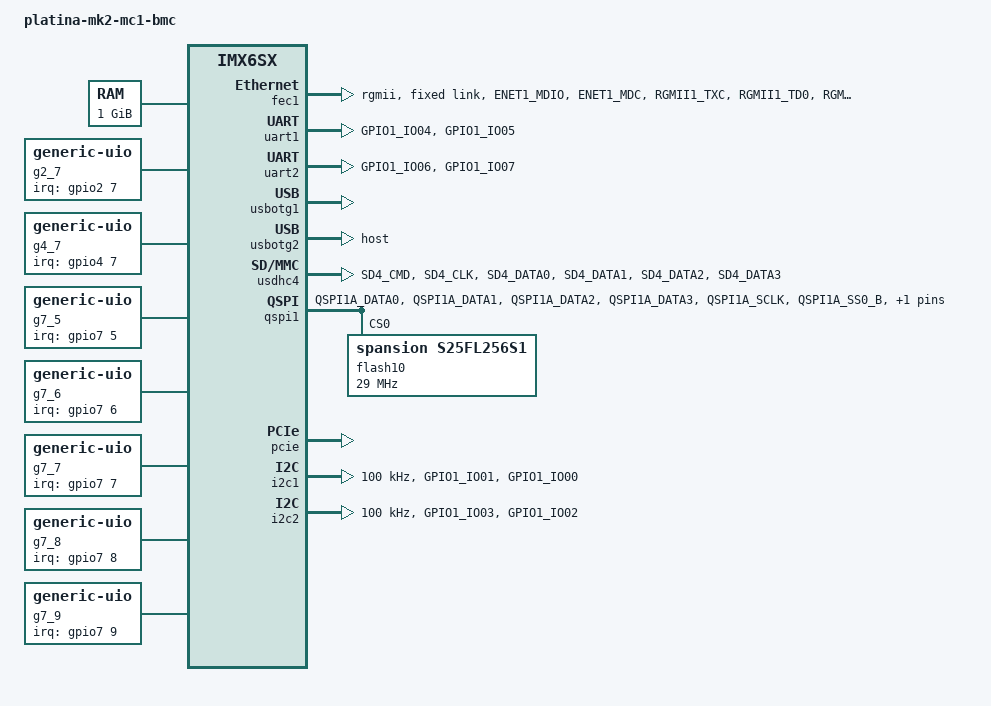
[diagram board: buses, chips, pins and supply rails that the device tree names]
/*
 * Copyright (C) 2015-2016 Platina Systems, Inc.
 *
 * This program is free software; you can redistribute it and/or modify
 * it under the terms of the GNU General Public License version 2 as
 * published by the Free Software Foundation.
 */

/dts-v1/;

#include <dt-bindings/gpio/gpio.h>
#include <dt-bindings/input/input.h>
#include "imx6sx.dtsi"

/ {
	model = "platina-mk2-mc1-bmc";
	compatible = "platina,platina-mk2-mc1-bmc", "fsl,imx6sx-sdb", "fsl,imx6sx";

	chosen {
		stdout-path = &uart1;
	};

	memory {
		reg = <0x80000000 0x40000000>;
	};


        /* Map gpio interrupts to logical
         * User Space IO devices
         */
        g2_7 {
                compatible = "generic-uio", "uio_pdrv_genirq";
                status = "okay";
                interrupt-parent = <&gpio2>;
                interrupts =    <7 IRQ_TYPE_EDGE_FALLING>;
        };

        g4_7 {
                compatible = "generic-uio", "uio_pdrv_genirq";
                status = "okay";
                interrupt-parent = <&gpio4>;
                interrupts =    <7 IRQ_TYPE_EDGE_FALLING>;
        };

        g7_5 {
                compatible = "generic-uio", "uio_pdrv_genirq";
                status = "okay";
                interrupt-parent = <&gpio7>;
                interrupts =    <5 IRQ_TYPE_EDGE_FALLING>;
        };

        g7_6 {
                compatible = "generic-uio", "uio_pdrv_genirq";
                status = "okay";
                interrupt-parent = <&gpio7>;
                interrupts =    <6 IRQ_TYPE_EDGE_FALLING>;
        };

        g7_7 {
                compatible = "generic-uio", "uio_pdrv_genirq";
                status = "okay";
                interrupt-parent = <&gpio7>;
                interrupts =    <7 IRQ_TYPE_EDGE_FALLING>;
        };

        g7_8 {
                compatible = "generic-uio", "uio_pdrv_genirq";
                status = "okay";
                interrupt-parent = <&gpio7>;
                interrupts =    <8 IRQ_TYPE_EDGE_FALLING>;
        };

        g7_9 {
                compatible = "generic-uio", "uio_pdrv_genirq";
                status = "okay";
                interrupt-parent = <&gpio7>;
                interrupts =    <9 IRQ_TYPE_EDGE_FALLING>;
        };
};

&fec1 {
	status = "okay";
	pinctrl-names = "default";
	pinctrl-0 = <&pinctrl_enet1>;
	phy-mode = "rgmii";
	fixed-link {
	      speed = <1000>;
	      full-duplex;
	};
};

&uart1 {
	pinctrl-names = "default";
	pinctrl-0 = <&pinctrl_uart1>;
	status = "okay";
};

&uart2 {
	pinctrl-names = "default";
	pinctrl-0 = <&pinctrl_uart2>;
	status = "okay";
};

&usbotg1 {			/* onboard debug */
	pinctrl-names = "default";
	status = "okay";
};


&usbotg2 { 			/* used for front faceplate */
	dr_mode = "host";
	status = "okay";
};


&usdhc4 {
	pinctrl-names = "default";
	pinctrl-0 = <&pinctrl_usdhc4>;
	status = "okay";
};


/* Added new Quad-SPI1 node for TOR1 */
/*   	      	       	    	     */
&qspi1 {
       pinctrl-names = "default";
       pinctrl-0 = <&pinctrl_qspi1>;
       status = "okay";

	ddrsmp = <0>;		/* DDR internal Sampling */

       flash10: s25fl256s1@0 {
		#address-cells = <1>;
		#size-cells = <1>;
		compatible = "spansion,s25fl256s1";
		spi-max-frequency = <29000000>;
		reg = <0>;
	};

/*
	flash11: s25fl512s@1 {
		#address-cells = <1>;
		#size-cells = <1>;
		compatible = "spansion,s25fl512s";
		spi-max-frequency = <29000000>;
		reg = <1>;
	};

     	flash12: s25fl512s@2 {
		#address-cells = <1>;
		#size-cells = <1>;
		compatible = "spansion,s25fl512s";
		spi-max-frequency = <29000000>;
		reg = <2>;
	};

	flash13: s25fl512s@3 {
		#address-cells = <1>;
		#size-cells = <1>;
		compatible = "spansion,s25fl512s";
		spi-max-frequency = <29000000>;
		reg = <3>;
	};

*/
};

&pcie {
	pinctrl-names = "default";
       	status = "okay";
};


&iomuxc {
	pinctrl-names = "default";
	pinctrl-0 = <&pinctrl_hog>;

	platina-mk2-mc1-bmc {
        	pinctrl_hog: hoggrp {
			fsl,pins = <
				MX6SX_PAD_GPIO1_IO08__GPIO1_IO_8	0x17028
				MX6SX_PAD_GPIO1_IO09__GPIO1_IO_9 	0x17028
				MX6SX_PAD_GPIO1_IO10__GPIO1_IO_10	0x00828
				MX6SX_PAD_GPIO1_IO11__GPIO1_IO_11	0x00028
				MX6SX_PAD_GPIO1_IO12__GPIO1_IO_12	0x00028
				MX6SX_PAD_GPIO1_IO13__GPIO1_IO_13	0x11028
				
				MX6SX_PAD_ENET1_COL__GPIO2_IO_0		0x10028
				MX6SX_PAD_ENET1_CRS__GPIO2_IO_1		0x10028
				MX6SX_PAD_ENET1_RX_CLK__GPIO2_IO_4	0x00000
				MX6SX_PAD_ENET1_TX_CLK__GPIO2_IO_5	0x00000
				MX6SX_PAD_ENET2_COL__GPIO2_IO_6		0x3028
				MX6SX_PAD_ENET2_CRS__GPIO2_IO_7 	0x10028
				MX6SX_PAD_ENET2_RX_CLK__GPIO2_IO_8	0x00028
				MX6SX_PAD_ENET2_TX_CLK__GPIO2_IO_9	0x10028
				MX6SX_PAD_KEY_COL0__GPIO2_IO_10		0x00028
				MX6SX_PAD_KEY_COL1__GPIO2_IO_11		0x00028
				MX6SX_PAD_KEY_COL2__GPIO2_IO_12		0x10028
				MX6SX_PAD_KEY_COL3__GPIO2_IO_13		0x10028
				MX6SX_PAD_KEY_ROW0__GPIO2_IO_15		0x10028
				MX6SX_PAD_KEY_ROW1__GPIO2_IO_16		0x10028
				MX6SX_PAD_KEY_ROW2__GPIO2_IO_17		0x10028
				MX6SX_PAD_KEY_ROW3__GPIO2_IO_18		0x10028

				MX6SX_PAD_LCD1_CLK__GPIO3_IO_0		0x10028
				MX6SX_PAD_LCD1_DATA00__GPIO3_IO_1	0x10028
                                MX6SX_PAD_LCD1_DATA01__GPIO3_IO_2       0x10028
                                MX6SX_PAD_LCD1_DATA02__GPIO3_IO_3       0x10028
                                MX6SX_PAD_LCD1_DATA03__GPIO3_IO_4       0x10028
                                MX6SX_PAD_LCD1_DATA04__GPIO3_IO_5       0x10028
                                MX6SX_PAD_LCD1_DATA05__GPIO3_IO_6       0x10028
                                MX6SX_PAD_LCD1_DATA06__GPIO3_IO_7       0x10028
                                MX6SX_PAD_LCD1_DATA07__GPIO3_IO_8       0x10028
                                MX6SX_PAD_LCD1_DATA08__GPIO3_IO_9       0x10028
                                MX6SX_PAD_LCD1_DATA09__GPIO3_IO_10      0x10028
                                MX6SX_PAD_LCD1_DATA10__GPIO3_IO_11      0x10028
                                MX6SX_PAD_LCD1_DATA11__GPIO3_IO_12      0x10028
                                MX6SX_PAD_LCD1_DATA12__GPIO3_IO_13      0x10028
                                MX6SX_PAD_LCD1_DATA13__GPIO3_IO_14      0x10028
                                MX6SX_PAD_LCD1_DATA14__GPIO3_IO_15      0x10028
                                MX6SX_PAD_LCD1_DATA15__GPIO3_IO_16      0x10028
                                MX6SX_PAD_LCD1_DATA16__GPIO3_IO_17      0x10028
                                MX6SX_PAD_LCD1_DATA17__GPIO3_IO_18      0x10028
                                MX6SX_PAD_LCD1_DATA18__GPIO3_IO_19      0x10028
                                MX6SX_PAD_LCD1_DATA19__GPIO3_IO_20      0x10028
                                MX6SX_PAD_LCD1_DATA20__GPIO3_IO_21      0x10028
                                MX6SX_PAD_LCD1_DATA21__GPIO3_IO_22      0x10028
                                MX6SX_PAD_LCD1_DATA22__GPIO3_IO_23      0x10028
                                MX6SX_PAD_LCD1_DATA23__GPIO3_IO_24      0x10028
				MX6SX_PAD_LCD1_ENABLE__GPIO3_IO_25	0x00828
				MX6SX_PAD_LCD1_HSYNC__GPIO3_IO_26 	0x10028
				MX6SX_PAD_LCD1_VSYNC__GPIO3_IO_28	0x17028

				MX6SX_PAD_NAND_ALE__GPIO4_IO_0  	0x11028
				MX6SX_PAD_NAND_CE0_B__GPIO4_IO_1 	0x10028
				MX6SX_PAD_NAND_CE1_B__GPIO4_IO_2 	0x10028
				MX6SX_PAD_NAND_CLE__GPIO4_IO_3  	0x11028
				MX6SX_PAD_NAND_DATA00__GPIO4_IO_4 	0x10028
				MX6SX_PAD_NAND_DATA01__GPIO4_IO_5	0x10028
				MX6SX_PAD_NAND_DATA02__GPIO4_IO_6	0x10028	
				MX6SX_PAD_NAND_DATA03__GPIO4_IO_7	0x10028
				MX6SX_PAD_NAND_DATA04__GPIO4_IO_8 	0x10028
				MX6SX_PAD_NAND_DATA05__GPIO4_IO_9 	0x10028
				MX6SX_PAD_NAND_DATA06__GPIO4_IO_10	0x10028
				MX6SX_PAD_NAND_DATA07__GPIO4_IO_11 	0x10028
				MX6SX_PAD_NAND_RE_B__GPIO4_IO_12   	0x11028
				MX6SX_PAD_NAND_READY_B__GPIO4_IO_13	0x00028
				MX6SX_PAD_NAND_WE_B__GPIO4_IO_14        0x11028
				MX6SX_PAD_NAND_WP_B__GPIO4_IO_15 	0x13028
				MX6SX_PAD_QSPI1B_DATA0__GPIO4_IO_24     0x00028
                                MX6SX_PAD_QSPI1B_DATA1__GPIO4_IO_25     0x00028
                                MX6SX_PAD_QSPI1B_DATA2__GPIO4_IO_26     0x00028
                                MX6SX_PAD_QSPI1B_DATA3__GPIO4_IO_27     0x00000 /* unused */
                                MX6SX_PAD_QSPI1B_DQS__GPIO4_IO_28       0x00028
				MX6SX_PAD_QSPI1B_SCLK__GPIO4_IO_29      0x00028
                                MX6SX_PAD_QSPI1B_SS0_B__GPIO4_IO_30     0x00028
                                MX6SX_PAD_QSPI1B_SS1_B__GPIO4_IO_31     0x10028

				MX6SX_PAD_RGMII2_RD0__GPIO5_IO_12	0x00028
				MX6SX_PAD_RGMII2_RD1__GPIO5_IO_13	0x10028
				MX6SX_PAD_RGMII2_RD2__GPIO5_IO_14	0x10028
				MX6SX_PAD_RGMII2_RD3__GPIO5_IO_15	0x10028
				MX6SX_PAD_RGMII2_RX_CTL__GPIO5_IO_16	0x00000
				MX6SX_PAD_RGMII2_RXC__GPIO5_IO_17	0x00028
				MX6SX_PAD_RGMII2_TD0__GPIO5_IO_18	0x10028
				MX6SX_PAD_RGMII2_TD1__GPIO5_IO_19	0x10028
				MX6SX_PAD_RGMII2_TD2__GPIO5_IO_20	0x00000
				MX6SX_PAD_RGMII2_TD3__GPIO5_IO_21	0x00000
				MX6SX_PAD_RGMII2_TX_CTL__GPIO5_IO_22	0x00028
				MX6SX_PAD_RGMII2_TXC__GPIO5_IO_23	0x00028

				MX6SX_PAD_SD2_CLK__GPIO6_IO_6		0x00028
				MX6SX_PAD_SD2_CMD__GPIO6_IO_7  		0x11028
				MX6SX_PAD_SD2_DATA0__GPIO6_IO_8  	0x00028
				MX6SX_PAD_SD2_DATA1__GPIO6_IO_9		0x00028
				MX6SX_PAD_SD2_DATA2__GPIO6_IO_10   	0x00028
				MX6SX_PAD_SD2_DATA3__GPIO6_IO_11 	0x00828
				MX6SX_PAD_SD4_DATA4__GPIO6_IO_18	0x10028
				MX6SX_PAD_SD4_DATA5__GPIO6_IO_19	0x17028
				MX6SX_PAD_SD4_DATA6__GPIO6_IO_20 	0x17028
				MX6SX_PAD_SD4_DATA7__GPIO6_IO_21	0x00028
				
				MX6SX_PAD_SD3_CLK__GPIO7_IO_0           0x00028
                                MX6SX_PAD_SD3_CMD__GPIO7_IO_1           0x00028
				MX6SX_PAD_SD3_DATA0__GPIO7_IO_2		0x00028
				MX6SX_PAD_SD3_DATA1__GPIO7_IO_3		0x00000
                                MX6SX_PAD_SD3_DATA2__GPIO7_IO_4		0x00028
                                MX6SX_PAD_SD3_DATA3__GPIO7_IO_5		0x10028
                                MX6SX_PAD_SD3_DATA4__GPIO7_IO_6		0x10028
                                MX6SX_PAD_SD3_DATA5__GPIO7_IO_7		0x10028
                                MX6SX_PAD_SD3_DATA6__GPIO7_IO_8		0x10028
                                MX6SX_PAD_SD3_DATA7__GPIO7_IO_9		0x10028
			>;
		};

		pinctrl_enet1: enet1grp {
			fsl,pins = <
				MX6SX_PAD_ENET1_MDIO__ENET1_MDIO	0xa0b1
				MX6SX_PAD_ENET1_MDC__ENET1_MDC		0xa0b1
				MX6SX_PAD_RGMII1_TXC__ENET1_RGMII_TXC	0xa0b1
				MX6SX_PAD_RGMII1_TD0__ENET1_TX_DATA_0	0xa0b1
				MX6SX_PAD_RGMII1_TD1__ENET1_TX_DATA_1	0xa0b1
				MX6SX_PAD_RGMII1_TD2__ENET1_TX_DATA_2	0xa0b1
				MX6SX_PAD_RGMII1_TD3__ENET1_TX_DATA_3	0xa0b1
				MX6SX_PAD_RGMII1_TX_CTL__ENET1_TX_EN	0xa0b1
				MX6SX_PAD_RGMII1_RXC__ENET1_RX_CLK	0x3081
				MX6SX_PAD_RGMII1_RD0__ENET1_RX_DATA_0	0x3081
				MX6SX_PAD_RGMII1_RD1__ENET1_RX_DATA_1	0x3081
				MX6SX_PAD_RGMII1_RD2__ENET1_RX_DATA_2	0x3081
				MX6SX_PAD_RGMII1_RD3__ENET1_RX_DATA_3	0x3081
				MX6SX_PAD_RGMII1_RX_CTL__ENET1_RX_EN	0x3081
			>;
		};

		pinctrl_i2c1: i2c1grp {
			fsl,pins = <
				MX6SX_PAD_GPIO1_IO01__I2C1_SDA		0x4001b8b1
				MX6SX_PAD_GPIO1_IO00__I2C1_SCL		0x4001b8b1
			>;
		};

		pinctrl_i2c2: i2c2grp {
			fsl,pins = <
				MX6SX_PAD_GPIO1_IO03__I2C2_SDA		0x4001b8b1
				MX6SX_PAD_GPIO1_IO02__I2C2_SCL		0x4001b8b1
			>;
		};

		pinctrl_i2c3: i2c3grp {
			fsl,pins = <
				MX6SX_PAD_KEY_ROW4__I2C3_SDA		0x4001b8b1
				MX6SX_PAD_KEY_COL4__I2C3_SCL		0x4001b8b1
			>;
		};

		pinctrl_uart1: uart1grp {
			fsl,pins = <
				MX6SX_PAD_GPIO1_IO04__UART1_TX		0x1b0b1
				MX6SX_PAD_GPIO1_IO05__UART1_RX		0x1b0b1
			>;
		};

		pinctrl_uart2: uart2grp {
			fsl,pins = <
				MX6SX_PAD_GPIO1_IO06__UART2_TX		0x1b0b1
				MX6SX_PAD_GPIO1_IO07__UART2_RX		0x1b0b1
			>;
		};


		pinctrl_usdhc4: usdhc4grp {
			fsl,pins = <
				MX6SX_PAD_SD4_CMD__USDHC4_CMD		0x17059
				MX6SX_PAD_SD4_CLK__USDHC4_CLK		0x10059
				MX6SX_PAD_SD4_DATA0__USDHC4_DATA0	0x17059
				MX6SX_PAD_SD4_DATA1__USDHC4_DATA1	0x17059
				MX6SX_PAD_SD4_DATA2__USDHC4_DATA2	0x17059
				MX6SX_PAD_SD4_DATA3__USDHC4_DATA3	0x17059
			>;
		};
		
		/* Defined Pins for Quad-SPI1 node */
		/* 	   	    	      	   */
		pinctrl_qspi1: qspi1grp {
			fsl,pins = <
				 MX6SX_PAD_QSPI1A_DATA0__QSPI1_A_DATA_0	  0x70f1	
				 MX6SX_PAD_QSPI1A_DATA1__QSPI1_A_DATA_1	  0x70f1
				 MX6SX_PAD_QSPI1A_DATA2__QSPI1_A_DATA_2   0x70f1
				 MX6SX_PAD_QSPI1A_DATA3__QSPI1_A_DATA_3	  0x70f1
			  	 MX6SX_PAD_QSPI1A_SCLK__QSPI1_A_SCLK 	  0x70f1
				 MX6SX_PAD_QSPI1A_SS0_B__QSPI1_A_SS0_B	  0x70f1
				 MX6SX_PAD_QSPI1A_SS1_B__QSPI1_A_SS1_B	  0x70f1
			>;
		};
	};
};

/* 05/09/16: Updated LOCAL_MUX SPI interface for TOR1	*/
/* 	      	  	    		      		*/
&i2c1 {
	clock-frequency = <100000>;
	pinctrl-names = "default";
	pinctrl-0 = <&pinctrl_i2c1>;
	status = "okay";
};

&i2c2 {
        clock-frequency = <100000>;
        pinctrl-names = "default";
        pinctrl-0 = <&pinctrl_i2c2>;
        status = "okay";
};

&i2c3 {
        clock-frequency = <100000>;
        pinctrl-names = "default";
        pinctrl-0 = <&pinctrl_i2c3>;
	status = "disabled";		/* not used */
};

&gpio1 {
	HOST_TO_BMC_INT_L@8 {
		gpio-pin-desc;
	  	input;
	};
	BMC_TO_HOST_NMI_L@9 {
		gpio-pin-desc;
		input;
	};
	BMC_TO_HOST_RST_L@10 {
		gpio-pin-desc;
		output-high;
	};
	BMC_TO_HOST_INT_L@11 {
		gpio-pin-desc;
		output-high;
	};
	P3V3_I2C_EN@12 {
		gpio-pin-desc;
		output-high;
	};
	BMC_GPIO_FRU_GPIO0@13 {
	     gpio-pin-desc;
	     input;
	};
};

&gpio2 {
	LM25066_ALERT_L@0 {
		gpio-pin-desc;
		input;
	};
        TMP75_INTAKE_ALERT_L@1 {
                gpio-pin-desc;
                input;
        };
        BMC_UART_MUX_SEL@6 {
                gpio-pin-desc;
                output-low;
        };
	UCD9090_INT_L@7 {
		gpio-pin-desc;
		input;
	};
	UCD9090_CNTRL@8 {
		gpio-pin-desc;
		output-high;
	};
        FP_BUTTON_L@9 {
                gpio-pin-desc;
                input;
        };
	CPU_TO_MAIN_I2C_EN@10 {
		gpio-pin-desc;
		output-high;
	};	      
	CPU_TO_FRU_I2C_EN@11 {
		gpio-pin-desc;
		output-high;
	};
	BMC_I2C2_SDA_MON@12 {
		gpio-pin-desc;
		input;
	};
	BMC_I2C2_SCL_MON@13 {
		gpio-pin-desc;
		input;
	};
	BMC_I2C0_SCL_MON@15 {
		gpio-pin-desc;
		input;
	};
	BMC_I2C0_SDA_MON@16 {
		gpio-pin-desc;
		input;
	};
	BMC_I2C1_SCL_MON@17 {
		gpio-pin-desc;
		input;
	};
	BMC_I2C1_SDA_MON@18 {
		gpio-pin-desc;
		input;
	};
};		   

&gpio3 {
	ETHX_INT_L@0 {
       		gpio-pin-desc;
		input;
  	};
        QS_LC0_TO_MC_INT_L@1 {
                gpio-pin-desc;
                input;
        };
        QS_LC1_TO_MC_INT_L@2 {
                gpio-pin-desc;
                input;
        };
        QS_LC2_TO_MC_INT_L@3 {
                gpio-pin-desc;
                input;
        };
        QS_LC3_TO_MC_INT_L@4 {
                gpio-pin-desc;
                input;
        };
        QS_LC4_TO_MC_INT_L@5 {
                gpio-pin-desc;
                input;
        };
        QS_LC5_TO_MC_INT_L@6 {
                gpio-pin-desc;
                input;
        };
        QS_LC6_TO_MC_INT_L@7 {
                gpio-pin-desc;
                input;
        };
        QS_LC7_TO_MC_INT_L@8 {
                gpio-pin-desc;
                input;
        };
        QS_LC8_TO_MC_INT_L@9 {
                gpio-pin-desc;
                input;
        };
        QS_LC9_TO_MC_INT_L@10 {
                gpio-pin-desc;
                input;
        };
        QS_LC10_TO_MC_INT_L@11 {
                gpio-pin-desc;
                input;
        };
        QS_LC11_TO_MC_INT_L@12 {
                gpio-pin-desc;
                input;
        };
        QS_LC12_TO_MC_INT_L@13 {
                gpio-pin-desc;
                input;
        };
        QS_LC13_TO_MC_INT_L@14 {
                gpio-pin-desc;
                input;
        };
        QS_LC14_TO_MC_INT_L@15 {
                gpio-pin-desc;
                input;
        };
        QS_LC15_TO_MC_INT_L@16 {
                gpio-pin-desc;
                input;
        };
        QS_PSU0_TO_MC_SMB_ALERT_L@17 {
                gpio-pin-desc;
                input;
        };
        QS_PSU1_TO_MC_SMB_ALERT_L@18 {
                gpio-pin-desc;
                input;
        };
        QS_PSU2_TO_MC_SMB_ALERT_L@19 {
                gpio-pin-desc;
                input;
        };
        QS_PSU3_TO_MC_SMB_ALERT_L@20 {
                gpio-pin-desc;
                input;
        };
        QS_PSU4_TO_MC_SMB_ALERT_L@21 {
                gpio-pin-desc;
                input;
        };
        QS_PSU5_TO_MC_SMB_ALERT_L@22 {
                gpio-pin-desc;
                input;
        };
        QS_PSU6_TO_MC_SMB_ALERT_L@23 {
                gpio-pin-desc;
                input;
        };
        QS_PSU7_TO_MC_SMB_ALERT_L@24 {
                gpio-pin-desc;
                input;
        };
	ETHX_RST_L@25 {
		gpio-pin-desc;
		output-high;
	};
	QS_MC_SLOT_ID@26 {
		gpio-pin-desc;
		input;
	};
	CPU_PRSNT_L@28 {
		gpio-pin-desc;
		input;
	};
};

&gpio4 {
	QS_FAN_SPEED_CTRL0@0 {
                gpio-pin-desc;
                input;
        };
	PCIE_CLK_SSC_EN@1 {
                gpio-pin-desc;
                input;
        };
	BMC_T_CRIT_L@2 {
		gpio-pin-desc;
		input;
	};
	QS_FAN_SPEED_CTRL1@3 {
		gpio-pin-desc;
		input;
	};
	QS_FAN0_TO_MC_INT_L@4 {
		gpio-pin-desc;
		input;
	};
	QS_FAN1_TO_MC_INT_L@5 {
		gpio-pin-desc;
		input;
	};
	QS_FAN2_TO_MC_INT_L@6 {
		gpio-pin-desc;
	  	input;
	};
	BMC_HWM_INT_L@7 {
		gpio-pin-desc;
		input;
	};
	QS_PSU8_TO_MC_SMB_ALERT_L@8 {
		gpio-pin-desc;
		input;
	};
	QS_PSU9_TO_MC_SMB_ALERT_L@9 {
		gpio-pin-desc;
		input;
	};
	QS_PEER_MC_TO_MC_PRESENT_L@10 {
		gpio-pin-desc;
	  	input;
	};
	QS_MC_PRESENT_L@11 {
                gpio-pin-desc;
                input;
        };
	QS_FAN_SPEED_CTRL2@12 {
		gpio-pin-desc;
		input;
	};
	BP_QS_EN_L@13 {
                gpio-pin-desc;
                output-high;
        };
        BMC_TO_CPU_PWRBTN_L@14 {
                gpio-pin-desc;
                input;
        };
	ALL_PWR_GOOD@15 {
		gpio-pin-desc;
		input;
	};
	MAX6369_SET0@24 {
		gpio-pin-desc;
		output-high;
	};
	MAX6369_SET1@25 {
		gpio-pin-desc;
		output-high;
	};
	MAX6369_SET2@26 {
		gpio-pin-desc;
		output-low;
	};
	QS_MC_TO_PEER_MC_IM_ACTIVE@28 {
                gpio-pin-desc;
                output-low;
        };
	BMC_WDI@29 {
		gpio-pin-desc;
		output-low;
	};
	BMC_WD_MUX_EN_L@30 {
		gpio-pin-desc;
		input;
	};
	QSPI_MUX_SEL@31 {
		gpio-pin-desc;
		input;
	};
};

&gpio5 {
        QS_MC_TO_FAN5_I2C_RST_L@12 {
                gpio-pin-desc;
                output-high;
        };
        QS_FAN3_TO_MC_INT_L@13 {
                gpio-pin-desc;
                input;
        };
        QS_FAN4_TO_MC_INT_L@14 {
                gpio-pin-desc;
                input;
        };
        QS_FAN5_TO_MC_INT_L@15 {
                gpio-pin-desc;
                input;
        };
        BMC_HWM_RESET_L@17 {
                gpio-pin-desc;
                output-high;
        };
        QS_PSU10_TO_MC_SMB_ALERT_L@18 {
                gpio-pin-desc;
                input;
        };
        QS_PSU11_TO_MC_SMB_ALERT_L@19 {
                gpio-pin-desc;
                input;
        };
        QS_MC_TO_FAN4_I2C_RST_L@22 {
                gpio-pin-desc;
                output-high;
        };
        QS_MC_TO_FAN3_I2C_RST_L@23 {
                gpio-pin-desc;
                output-high;
        };
};

&gpio6 {
        SYSTEM_LED_RST_L@6 {
                gpio-pin-desc;
                output-high;
        };

	BMC_HOST_GPIO@7 {
		gpio-pin-desc;
		input;
	};
	LOCAL_I2C_RESET_L@8 {
		gpio-pin-desc;
		output-high;
	};
	FRU_I2C_RESET_L@9 {
		gpio-pin-desc;
		output-high;
	};
	BMC_TO_UCD_RST_L@10 {
		gpio-pin-desc;
		output-high;
	};
	PHY_RST_L@11 {
                gpio-pin-desc;
                output-high;
        };
        QS_MC_TO_PEER_MC_RESET_L@18 {
                gpio-pin-desc;
                output-high;
        };
        PHY_INT_L@19 {
                gpio-pin-desc;
                input;
        };
	PMIC_INT_L@20 {
		gpio-pin-desc;
		input;
	};
	QSPI_RST_L@21 {
		gpio-pin-desc;
		output-high;
	};

};

&gpio7 {
        QS_MC_TO_FAN0_I2C_RST_L@0 {
                gpio-pin-desc;
                output-high;
        };
        QS_MC_TO_FAN1_I2C_RST_L@1 {
                gpio-pin-desc;
                output-high;
        };
        QS_MC_TO_FAN2_I2C_RST_L@2 {
                gpio-pin-desc;
                output-high;
        };
        MAC_LED_CLR@4 {
                gpio-pin-desc;
                output-high;
        };
        MAIN_GPIO0_INT_L@5 {
                gpio-pin-desc;
                input;
        };
        MAIN_GPIO1_INT_L@6 {
                gpio-pin-desc;
                input;
        };
        MAIN_GPIO2_INT_L@7 {
                gpio-pin-desc;
                input;
        };
        MAIN_GPIO6_INT_L@8 {
                gpio-pin-desc;
                input;
        };
	MAIN_GPIO7_INT_L@9 {
                gpio-pin-desc;
                input;
        };
};	
